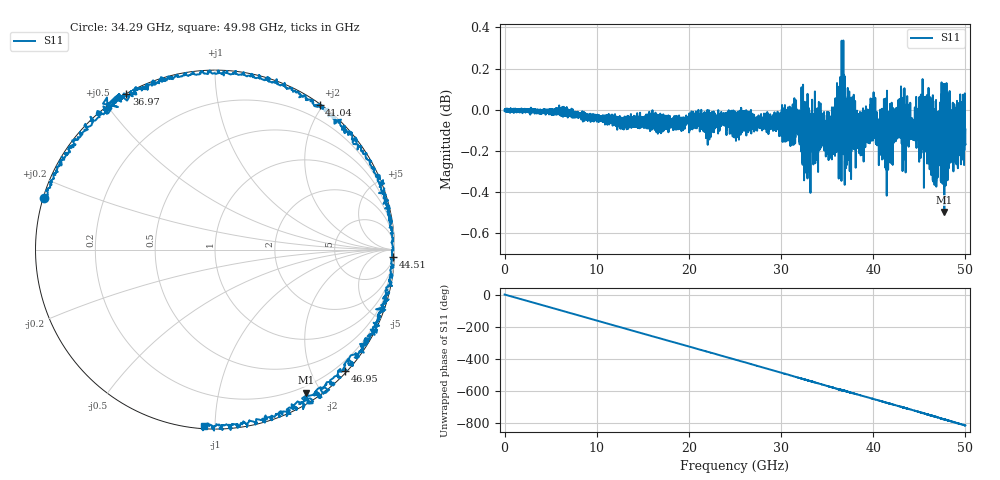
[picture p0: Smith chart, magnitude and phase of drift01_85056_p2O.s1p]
!Created with skrf (http://scikit-rf.org).
# Hz S RI R 50.0
!freq ReS11 ImS11
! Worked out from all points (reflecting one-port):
!   10001 points, 300 kHz to 50 GHz, reference 50 ohm
!   lowest |S11| = -0.5 dB at 47.71 GHz (marker M1), VSWR 34.94, Z = 6.14 - j90.6 ohm
!   phase of S11 starts at -0 deg and turns -814 deg over the sweep
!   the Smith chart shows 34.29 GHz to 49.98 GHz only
!   S11 on the Smith chart (normalised r, x): 34.29 GHz: 0.00, +0.15; 36.97 GHz: -0.00, +0.58; 41.04 GHz: 0.02, +1.96; 44.51 GHz: 6, -48; 46.95 GHz: 0.04, -2.54; 49.98 GHz: 0.02, -0.94
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300000  0.9994 -0.000775
1.68029e9  0.8901 -0.4556
3.515279e9  0.5491 -0.8359
6.250262e9  -0.1878 -0.9808
7.835253e9  -0.5946 -0.8
9.610242e9  -0.9075 -0.4134
1.250022e10  -0.9213 0.3793
1.580021e10  -0.2416 0.9605
1.875019e10  0.5418 0.8329
2.050518e10  0.8722 0.4776
2.193017e10  0.9882 0.0925
2.342016e10  0.9434 -0.3213
2.500015e10  0.7158 -0.6947
2.664014e10  0.32 -0.9407
2.811513e10  -0.0945 -0.9875
3.125011e10  -0.8391 -0.5416
3.27601e10  -0.9885 -0.1426
3.429009e10  -0.9532 0.2861
3.696508e10  -0.4939 0.8696
3.750008e10  -0.3514 0.9306
3.927006e10  0.1263 0.9755
4.103505e10  0.5823 0.8054
4.375004e10  0.9754 0.1609
4.450503e10  0.9941 -0.0408
4.695002e10  0.7233 -0.6746
4.771001e10  0.5055 -0.7977
4.998e10  -0.061 -0.9819
5e10  -0.0726 -0.978
